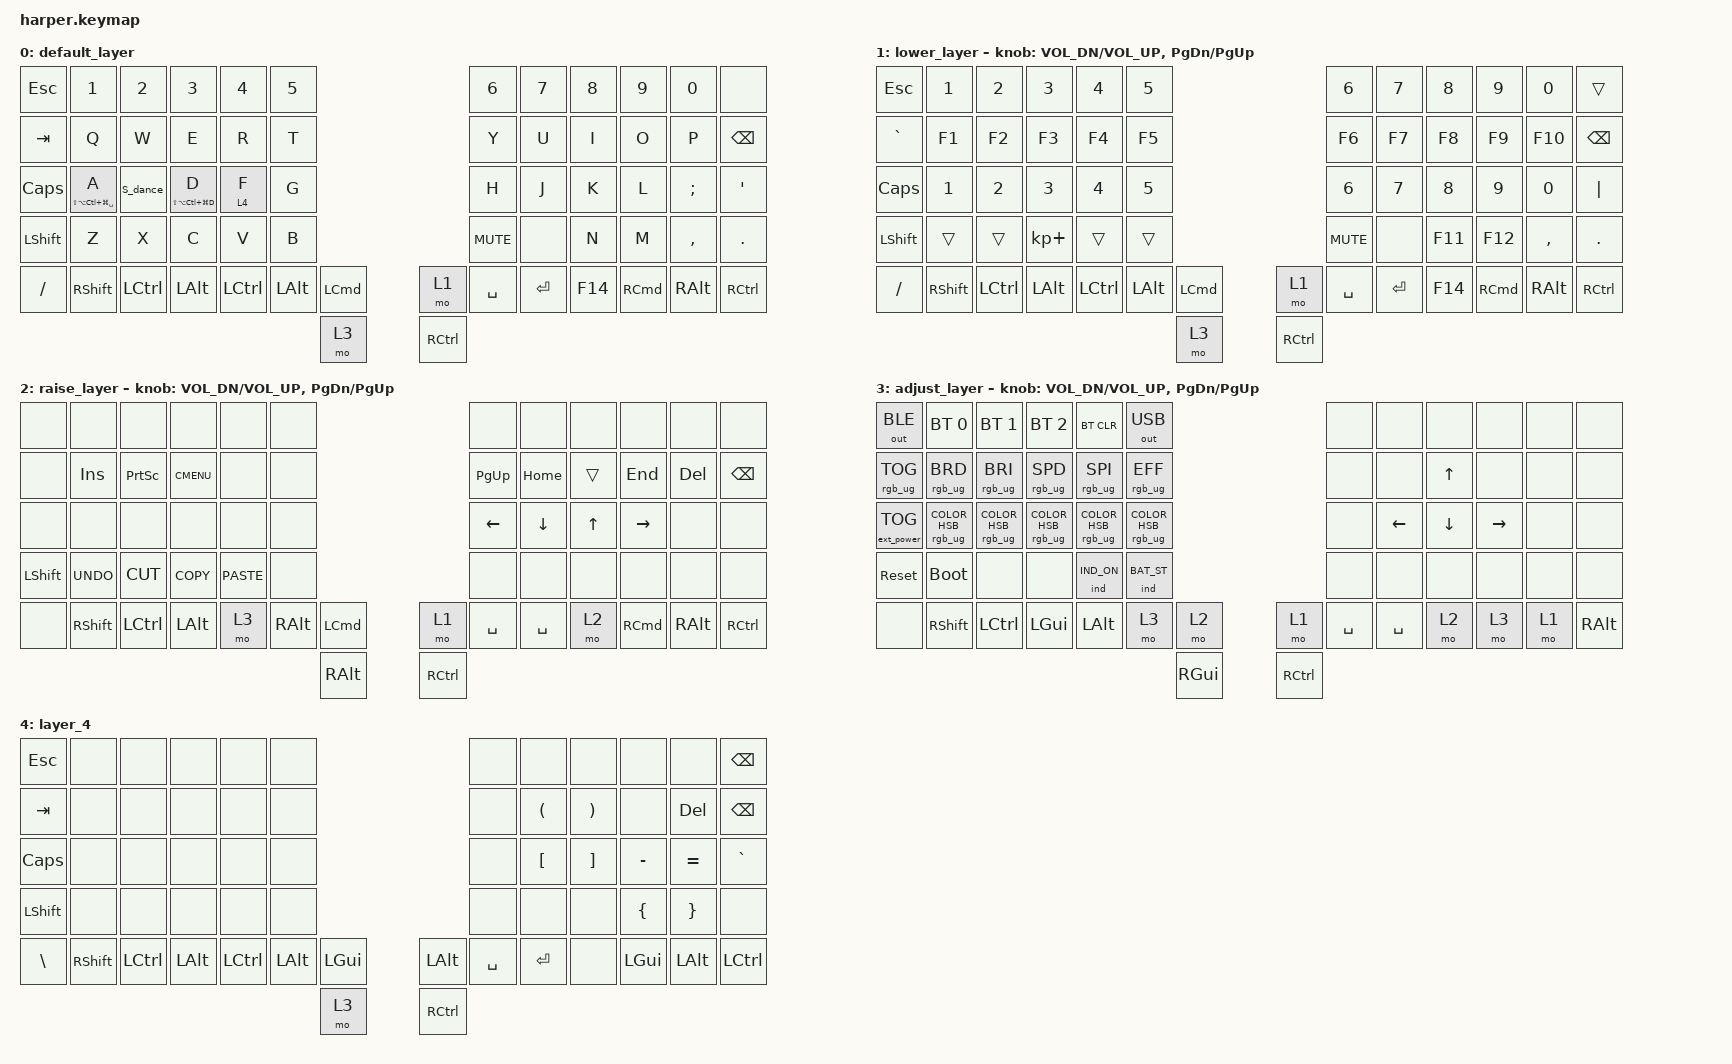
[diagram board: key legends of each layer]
#include <dt-bindings/zmk/indicators.h>
#include <behaviors.dtsi>
#include <dt-bindings/zmk/bt.h>
#include <dt-bindings/zmk/ext_power.h>
#include <dt-bindings/zmk/keys.h>
#include <dt-bindings/zmk/outputs.h>
#include <dt-bindings/zmk/rgb.h>

#define DEF 0
#define LWR 1
#define RSE 2
#define ADJ 3

&lt { quick_tap_ms = <200>; };

&mt { quick_tap_ms = <200>; };

/ {
    behaviors {
        custom_hold: custom_hold {
            compatible = "zmk,behavior-hold-tap";
            label = "CUSTOM_HOLD";
            bindings = <&kp>, <&kp>;

            #binding-cells = <2>;
            flavor = "tap-preferred";
            tapping-term-ms = <200>;
        };

        S_dance: S_dance {
            compatible = "zmk,behavior-tap-dance";
            label = "S_DANCE";
            #binding-cells = <0>;
            tapping-term-ms = <300>;
            bindings = <&custom_hold S S>, <&custom_hold LS(LA(LC(LG(S)))) S>;
        };
    };

    keymap {
        compatible = "zmk,keymap";

        default_layer {
            bindings = <
                &kp ESCAPE    &kp N1                                &kp N2     &kp N3                            &kp N4     &kp N5                          &kp N6      &kp N7     &kp N8     &kp N9   &kp N0             &none
                &kp TAB       &kp Q                                 &kp W      &kp E                             &kp R      &kp T                           &kp Y       &kp U      &kp I      &kp O    &kp P              &kp BSPC
                &kp CAPSLOCK  &custom_hold LS(LA(LC(LG(SPACE)))) A  &S_dance   &custom_hold LS(LA(LC(LG(D)))) D  &lt 4 F    &kp G                           &kp H       &kp J      &kp K      &kp L    &kp SEMICOLON      &kp SQT
                &kp LSHFT     &kp Z                                 &kp X      &kp C                             &kp V      &kp B                           &kp C_MUTE  &none      &kp N      &kp M    &kp COMMA          &kp DOT
                &kp FSLH      &kp RSHFT                             &kp LCTRL  &kp LALT                          &kp LCTRL  &kp LEFT_ALT  &kp LEFT_COMMAND  &mo 1       &kp SPACE  &kp ENTER  &kp F14  &kp RIGHT_COMMAND  &kp RIGHT_ALT  &kp RCTRL
                                                                                                                                                &mo 3                                                                        &kp RCTRL
            >;
        };

        lower_layer {
            bindings = <
                &kp ESC    &kp N1     &kp N2     &kp N3       &kp N4     &kp N5                          &kp N6      &kp N7     &kp N8     &kp N9   &kp N0             &trans
                &kp GRAVE  &kp F1     &kp F2     &kp F3       &kp F4     &kp F5                          &kp F6      &kp F7     &kp F8     &kp F9   &kp F10            &kp BSPC
                &kp CAPS   &kp N1     &kp N2     &kp N3       &kp N4     &kp N5                          &kp N6      &kp N7     &kp N8     &kp N9   &kp N0             &kp PIPE
                &kp LSHFT  &trans     &trans     &kp KP_PLUS  &trans     &trans                          &kp C_MUTE  &none      &kp F11    &kp F12  &kp COMMA          &kp DOT
                &kp FSLH   &kp RSHFT  &kp LCTRL  &kp LALT     &kp LCTRL  &kp LEFT_ALT  &kp LEFT_COMMAND  &mo 1       &kp SPACE  &kp ENTER  &kp F14  &kp RIGHT_COMMAND  &kp RIGHT_ALT  &kp RCTRL
                                                                                             &mo 3                                                                        &kp RCTRL
            >;

            sensor-bindings = <&inc_dec_kp C_VOL_DN C_VOL_UP &inc_dec_kp PG_DN PG_UP>;
        };

        raise_layer {
            bindings = <
                &none       &none       &none      &none        &none        &none                            &none      &none      &none         &none      &none              &none
                &none       &kp INS     &kp PSCRN  &kp K_CMENU  &none        &none                            &kp PG_UP  &kp HOME   &trans        &kp END    &kp DELETE         &kp BSPC
                &none       &none       &none      &none        &none        &none                            &kp LEFT   &kp DOWN   &kp UP_ARROW  &kp RIGHT  &none              &none
                &kp LSHIFT  &kp K_UNDO  &kp K_CUT  &kp K_COPY   &kp K_PASTE  &none                            &none      &none      &none         &none      &none              &none
                &none       &kp RSHFT   &kp LCTRL  &kp LALT     &mo 3        &kp RIGHT_ALT  &kp LEFT_COMMAND  &mo 1      &kp SPACE  &kp SPACE     &mo 2      &kp RIGHT_COMMAND  &kp RIGHT_ALT  &kp RCTRL
                                                                                                  &kp RALT                                                                         &kp RCTRL
            >;

            sensor-bindings = <&inc_dec_kp C_VOL_DN C_VOL_UP &inc_dec_kp PG_DN PG_UP>;
        };

        adjust_layer {
            bindings = <
                &out OUT_BLE       &bt BT_SEL 0                     &bt BT_SEL 1                       &bt BT_SEL 2                      &bt BT_CLR                       &out OUT_USB                             &none     &none      &none      &none      &none  &none
                &rgb_ug RGB_TOG    &rgb_ug RGB_BRD                  &rgb_ug RGB_BRI                    &rgb_ug RGB_SPD                   &rgb_ug RGB_SPI                  &rgb_ug RGB_EFF                          &none     &none      &kp UP     &none      &none  &none
                &ext_power EP_TOG  &rgb_ug RGB_COLOR_HSB(0,100,50)  &rgb_ug RGB_COLOR_HSB(218,100,50)  &rgb_ug RGB_COLOR_HSB(120,97,50)  &rgb_ug RGB_COLOR_HSB(60,0,100)  &rgb_ug RGB_COLOR_HSB(64,100,52)         &none     &kp LEFT   &kp DOWN   &kp RIGHT  &none  &none
                &sys_reset         &bootloader                      &none                              &none                             &ind IND_ON                      &ind BAT_ST                              &none     &none      &none      &none      &none  &none
                &none              &kp RSHFT                        &kp LCTRL                          &kp LGUI                          &kp LALT                         &mo 3                             &mo 2  &mo 1     &kp SPACE  &kp SPACE  &mo 2      &mo 3  &mo 1  &kp RALT
                                                                                                                                                                                                    &kp RGUI                                                 &kp RCTRL
            >;

            sensor-bindings = <&inc_dec_kp C_VOL_DN C_VOL_UP &inc_dec_kp PG_DN PG_UP>;
        };

        layer_4 {
            bindings = <
                &kp ESC        &none      &none      &none     &none      &none               &none     &none                 &none                  &none           &none            &kp BSPC
                &kp TAB        &none      &none      &none     &none      &none               &none     &kp LEFT_PARENTHESIS  &kp RIGHT_PARENTHESIS  &none           &kp DEL          &kp BSPC
                &kp CAPS       &none      &none      &none     &none      &none               &none     &kp LBKT              &kp RBKT               &kp MINUS       &kp EQUAL        &kp GRAVE
                &kp LSHFT      &none      &none      &none     &none      &none               &none     &none                 &none                  &kp LEFT_BRACE  &kp RIGHT_BRACE  &none
                &kp BACKSLASH  &kp RSHFT  &kp LCTRL  &kp LALT  &kp LCTRL  &kp LALT  &kp LGUI  &kp LALT  &kp SPACE             &kp ENTER              &none           &kp LGUI         &kp LALT   &kp LCTRL
                                                                                       &mo 3                                                                                              &kp RCTRL
            >;
        };
    };
};
